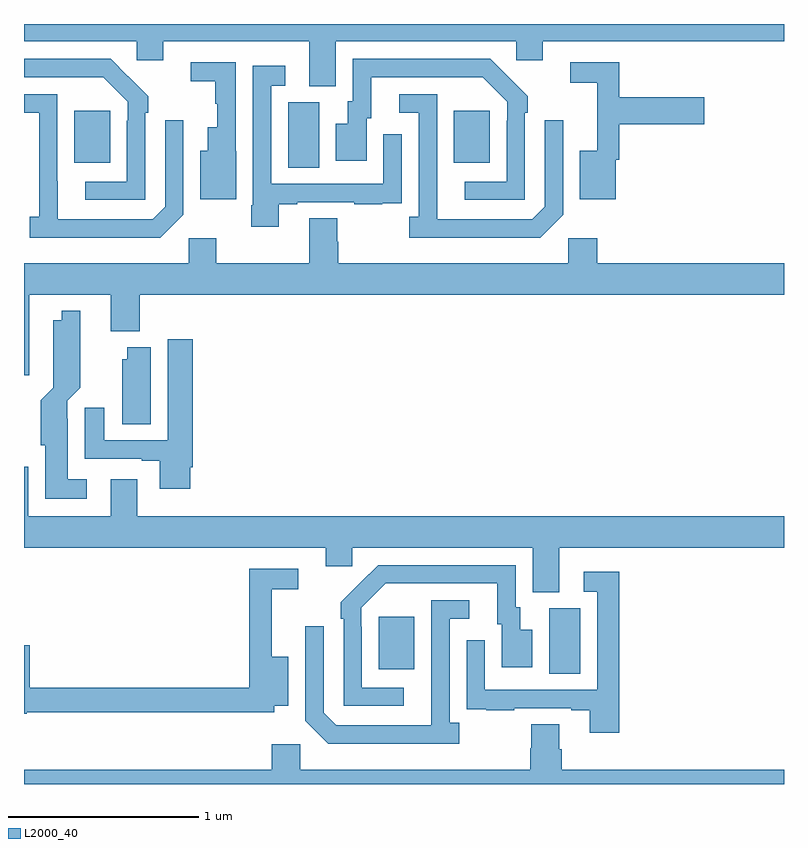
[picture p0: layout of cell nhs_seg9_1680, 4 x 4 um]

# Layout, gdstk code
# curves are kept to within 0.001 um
import gdstk
lib = gdstk.Library(unit=1e-6, precision=1e-09)
def R(c, l, rs):  # rectangles x0, y0, x1, y1
    for r in rs: c.add(gdstk.rectangle(r[:2], r[2:], *l))
def P(c, l, *ps):  # polygons
    for p in ps: c.add(gdstk.Polygon(p, *l))
L2000_40 = (2000, 40)

nhs_seg9_1680 = lib.new_cell('nhs_seg9_1680')
R(nhs_seg9_1680, L2000_40, [(207.764,1205.08,207.928,1205.424), (206.867,1205.105,207.055,1205.38), (206.39,1207.744,206.554,1208.088), (205.265,1207.769,205.453,1208.044), (207.263,1207.769,207.451,1208.044)])
P(nhs_seg9_1680, L2000_40, [(205,1208.408),(205.593,1208.408),(205.593,1208.31),(205.732,1208.31),(205.732,1208.408),(206.501,1208.408),(206.501,1208.173),(206.641,1208.173),(206.641,1208.408),(207.591,1208.408),(207.591,1208.31),(207.73,1208.31),(207.73,1208.408),(209,1208.408),(209,1208.5),(205,1208.5)],
  [(207.636,1208.033),(207.651,1208.033),(207.651,1208.121),(207.454,1208.316),(206.73,1208.316),(206.73,1208.094),(206.705,1208.094),(206.705,1207.975),(206.642,1207.975),(206.642,1207.779),(206.803,1207.779),(206.803,1208.004),(206.827,1208.004),(206.827,1208.22),(207.415,1208.22),(207.543,1208.091),(207.543,1207.991),(207.54,1207.991),(207.54,1207.671),(207.321,1207.671),(207.321,1207.575),(207.636,1207.575)],
  [(205.638,1208.033),(205.653,1208.033),(205.653,1208.121),(205.456,1208.316),(205,1208.316),(205,1208.22),(205.417,1208.22),(205.545,1208.091),(205.545,1207.991),(205.542,1207.991),(205.542,1207.671),(205.323,1207.671),(205.323,1207.575),(205.638,1207.575)],
  [(206.116,1207.83),(206.115,1207.83),(206.115,1208.298),(205.878,1208.298),(205.878,1208.2),(206.007,1208.2),(206.007,1208.079),(206.018,1208.079),(206.018,1207.957),(205.967,1207.957),(205.967,1207.834),(205.928,1207.834),(205.928,1207.577),(206.116,1207.577)],
  [(208.114,1207.785),(208.133,1207.785),(208.133,1207.973),(208.579,1207.973),(208.579,1208.115),(208.133,1208.115),(208.133,1208.298),(207.876,1208.298),(207.876,1208.19),(208.016,1208.19),(208.016,1207.834),(207.926,1207.834),(207.926,1207.577),(208.114,1207.577)],
  [(206.341,1207.551),(206.437,1207.551),(206.437,1207.563),(206.737,1207.563),(206.737,1207.551),(206.885,1207.551),(206.885,1207.557),(206.987,1207.557),(206.987,1207.666),(206.988,1207.666),(206.988,1207.921),(206.892,1207.921),(206.892,1207.659),(206.301,1207.659),(206.301,1208.175),(206.374,1208.175),(206.374,1208.281),(206.205,1208.281),(206.205,1207.546),(206.197,1207.546),(206.197,1207.434),(206.341,1207.434)],
  [(205.839,1207.497),(205.839,1207.993),(205.743,1207.993),(205.743,1207.539),(205.677,1207.473),(205.177,1207.473),(205.176,1208.13),(205,1208.13),(205,1208.034),(205.08,1208.034),(205.08,1207.486),(205.029,1207.486),(205.029,1207.376),(205.718,1207.376)],
  [(207.837,1207.497),(207.837,1207.993),(207.741,1207.993),(207.741,1207.539),(207.675,1207.473),(207.175,1207.473),(207.174,1208.13),(206.976,1208.13),(206.976,1208.034),(207.078,1208.034),(207.078,1207.486),(207.027,1207.486),(207.027,1207.376),(207.716,1207.376)],
  [(205.027,1207.076),(205.457,1207.076),(205.457,1206.884),(205.61,1206.884),(205.61,1207.076),(209,1207.076),(209,1207.24),(208.016,1207.24),(208.016,1207.372),(207.864,1207.372),(207.864,1207.24),(206.654,1207.24),(206.654,1207.353),(206.649,1207.353),(206.649,1207.478),(206.501,1207.478),(206.501,1207.24),(206.013,1207.24),(206.013,1207.372),(205.866,1207.372),(205.866,1207.24),(205,1207.24),(205,1206.651),(205.027,1206.651)],
  [(205.33,1206.103),(205.231,1206.103),(205.231,1206.422),(205.227,1206.422),(205.227,1206.516),(205.297,1206.586),(205.296,1206.991),(205.199,1206.991),(205.199,1206.94),(205.154,1206.94),(205.154,1206.586),(205.087,1206.519),(205.087,1206.282),(205.112,1206.282),(205.112,1206.002),(205.33,1206.002)],
  [(205.876,1206.166),(205.889,1206.166),(205.889,1206.841),(205.757,1206.841),(205.757,1206.309),(205.423,1206.309),(205.423,1206.481),(205.319,1206.481),(205.319,1206.213),(205.619,1206.213),(205.619,1206.201),(205.715,1206.201),(205.715,1206.054),(205.876,1206.054)],
  [(205.666,1206.799),(205.544,1206.799),(205.544,1206.735),(205.517,1206.735),(205.517,1206.394),(205.666,1206.394)],
  [(207.817,1205.744),(209,1205.744),(209,1205.908),(205.597,1205.908),(205.597,1206.103),(205.457,1206.103),(205.457,1205.908),(205.023,1205.908),(205.023,1206.169),(205,1206.169),(205,1205.744),(206.588,1205.744),(206.588,1205.646),(206.727,1205.646),(206.727,1205.744),(207.677,1205.744),(207.677,1205.509),(207.817,1205.509)],
  [(206.998,1205.007),(206.778,1205.007),(206.778,1205.327),(206.775,1205.327),(206.775,1205.427),(206.904,1205.556),(207.491,1205.556),(207.491,1205.34),(207.515,1205.34),(207.515,1205.115),(207.676,1205.115),(207.676,1205.311),(207.613,1205.311),(207.613,1205.43),(207.588,1205.43),(207.588,1205.652),(206.864,1205.652),(206.667,1205.457),(206.667,1205.369),(206.682,1205.369),(206.682,1204.911),(206.998,1204.911)],
  [(205.014,1204.878),(206.316,1204.878),(206.316,1204.913),(206.392,1204.913),(206.392,1205.17),(206.303,1205.17),(206.303,1205.526),(206.443,1205.526),(206.443,1205.634),(206.185,1205.634),(206.185,1205.006),(205.031,1205.006),(205.031,1205.23),(205,1205.23),(205,1204.87),(205.014,1204.87)],
  [(208.133,1205.617),(207.945,1205.617),(207.945,1205.511),(208.017,1205.511),(208.017,1204.995),(207.426,1204.995),(207.426,1205.257),(207.33,1205.257),(207.33,1205.002),(207.331,1205.002),(207.331,1204.893),(207.433,1204.893),(207.433,1204.887),(207.581,1204.887),(207.581,1204.899),(207.881,1204.899),(207.881,1204.887),(207.977,1204.887),(207.977,1204.77),(208.133,1204.77)],
  [(207.292,1204.822),(207.24,1204.822),(207.24,1205.37),(207.343,1205.37),(207.343,1205.466),(207.144,1205.466),(207.143,1204.809),(206.643,1204.809),(206.577,1204.875),(206.577,1205.329),(206.481,1205.329),(206.481,1204.833),(206.602,1204.712),(207.292,1204.712)],
  [(209,1204.576),(207.83,1204.576),(207.83,1204.682),(207.817,1204.682),(207.817,1204.814),(207.67,1204.814),(207.67,1204.689),(207.665,1204.689),(207.665,1204.576),(206.454,1204.576),(206.454,1204.708),(206.303,1204.708),(206.303,1204.576),(205,1204.576),(205,1204.5),(209,1204.5)])

lib.write_gds('nhs_seg9_1680.gds')
